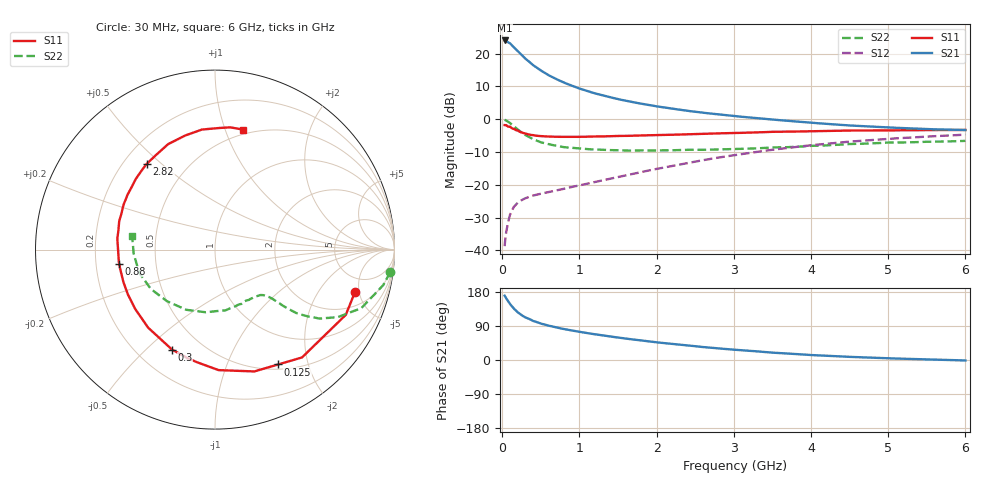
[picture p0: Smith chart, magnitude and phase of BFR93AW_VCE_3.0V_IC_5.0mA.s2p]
! Infineon Technologies  Discrete & RF Semiconductors
! BFR93AW
! VCE =  3.0 V,  IC =  5.0 mA
! Common Emitter S-Parameters:  Nov 2015
# GHz  S  MA  R  50
!  f  S11  S21  S12  S22
! GHz  MAG  ANG  MAG  ANG  MAG  ANG  MAG  ANG
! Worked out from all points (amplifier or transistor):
!   206 points, 30 MHz to 6 GHz, reference 50 ohm
!   highest |S21| = 24.0 dB at 30 MHz (marker M1)
!   |S21| within 3 dB of that: start of sweep to 189.8 MHz
!   unconditionally stable (mu >= 1): 944.6 MHz to 2.348 GHz
!   at 200 MHz: K = 0.30, MSG = 23.1 dB, |S12| = -25.5 dB
!   at 1.56 GHz: K = 1.10, MAG = 9.7 dB, |S12| = -17.3 dB
!   at 6 GHz: K = 0.95, MSG = 0.7 dB, |S12| = -4.7 dB
!   S11 on the Smith chart (normalised r, x): 30 MHz: 3.19, -4.52; 125 MHz: 0.56, -1.54; 300 MHz: 0.34, -0.60; 880 MHz: 0.30, -0.07; 2.82 GHz: 0.29, +0.45; 6 GHz: 0.46, +1.15
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0.03  0.8148 -17.0  15.91 169.8  0.0116 79.9  0.9845 -7.3
0.05  0.8144 -26.5  15.72 162.7  0.0188 76.0  0.9582 -11.9
0.1  0.7721 -51.1  14.4 147.7  0.0349 66.0  0.8783 -21.8
0.125  0.7303 -61.2  13.41 141.9  0.0404 61.0  0.8281 -25.1
0.15  0.7133 -72.1  12.58 135.3  0.0462 57.3  0.781 -28.8
0.2  0.6717 -88.3  10.96 125.9  0.0533 51.9  0.6983 -33.4
0.24  0.6352 -99.2  9.808 119.9  0.0574 48.6  0.6406 -35.6
0.26  0.6233 -104.3  9.303 117.1  0.0592 47.5  0.6158 -36.5
0.3  0.6062 -113.3  8.399 112.3  0.0625 46.0  0.5736 -38.0
0.4  0.5726 -130.6  6.679 103.0  0.0687 44.1  0.4954 -39.5
0.5  0.5542 -143.3  5.538 96.1  0.0733 44.6  0.4452 -40.2
0.6  0.5459 -152.7  4.695 90.6  0.0776 45.5  0.4156 -40.7
0.7  0.5414 -160.6  4.096 85.9  0.0819 47.0  0.394 -41.6
0.88  0.5395 -171.7  3.316 78.7  0.0916 50.3  0.3684 -43.5
1.04  0.5403 -179.8  2.841 73.0  0.1004 53.2  0.3542 -46.1
1.5  0.557 163.3  2.027 59.2  0.1316 59.8  0.3378 -56.1
2.02  0.5752 147.7  1.562 46.2  0.1769 62.8  0.3355 -70.3
2.82  0.6106 128.4  1.18 30.3  0.2627 61.1  0.347 -93.4
3.1  0.6206 122.2  1.092 25.8  0.2939 59.0  0.354 -101.9
4.1  0.6592 102.8  0.868 12.2  0.4118 48.6  0.3956 -136.1
5.1  0.6781 87.9  0.741 3.9  0.5113 35.9  0.4417 -165.8
6  0.6865 76.8  0.685 -1.2  0.5822 24.7  0.4681 170.5
